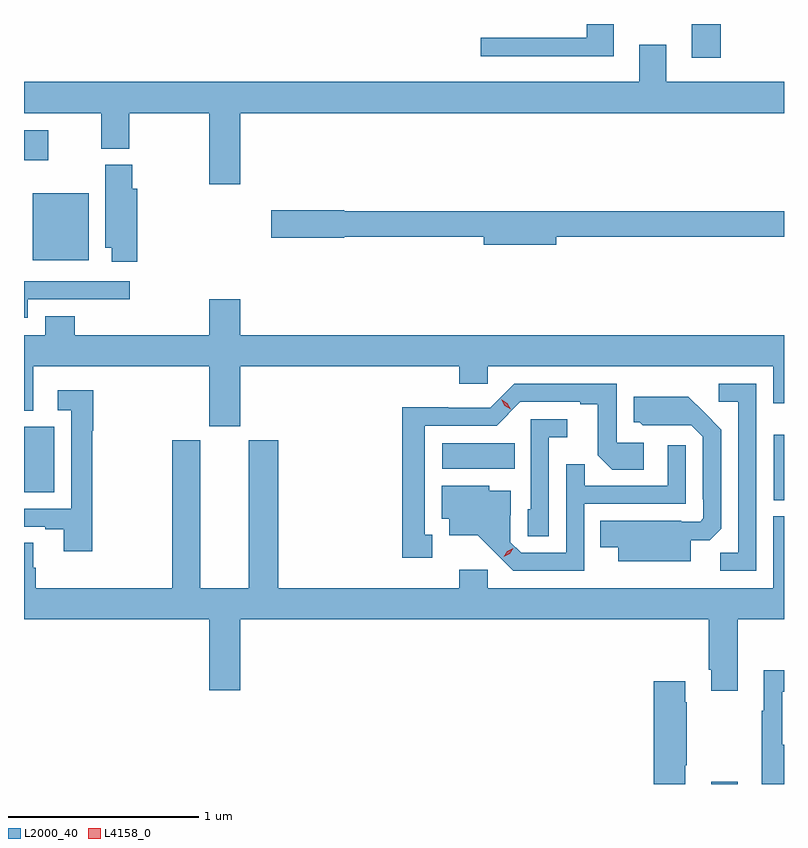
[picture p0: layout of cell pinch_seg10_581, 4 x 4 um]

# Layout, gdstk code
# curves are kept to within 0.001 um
import gdstk
lib = gdstk.Library(unit=1e-6, precision=1e-09)
def R(c, l, rs):  # rectangles x0, y0, x1, y1
    for r in rs: c.add(gdstk.rectangle(r[:2], r[2:], *l))
def P(c, l, *ps):  # polygons
    for p in ps: c.add(gdstk.Polygon(p, *l))
L2000_40 = (2000, 40)
L4158_0 = (4158, 0)

pinch_seg10_581 = lib.new_cell('pinch_seg10_581')
R(pinch_seg10_581, L2000_40, [(347.471,1283.465,347.611,1283.476), (347.801,1284.959,347.854,1285.303), (343.854,1285,344.014,1285.344), (346.056,1285.124,346.436,1285.258), (343.901,1286.222,344.194,1286.575), (343.854,1286.747,343.981,1286.905), (347.369,1287.288,347.522,1287.465)])
P(pinch_seg10_581, L2000_40, [(346.957,1287.465),(346.817,1287.465),(346.817,1287.393),(346.257,1287.393),(346.257,1287.296),(346.957,1287.296)],
  [(344.992,1286.996),(347.854,1286.996),(347.854,1287.16),(347.233,1287.16),(347.233,1287.355),(347.093,1287.355),(347.093,1287.16),(343.854,1287.16),(343.854,1286.996),(344.261,1286.996),(344.261,1286.809),(344.409,1286.809),(344.409,1286.996),(344.828,1286.996),(344.828,1286.622),(344.992,1286.622)],
  [(344.45,1286.598),(344.424,1286.598),(344.424,1286.724),(344.282,1286.724),(344.282,1286.288),(344.315,1286.288),(344.315,1286.214),(344.45,1286.214)],
  [(346.654,1286.344),(347.854,1286.344),(347.854,1286.48),(345.54,1286.48),(345.54,1286.486),(345.156,1286.486),(345.156,1286.339),(345.54,1286.339),(345.54,1286.344),(346.274,1286.344),(346.274,1286.302),(346.654,1286.302)],
  [(343.875,1286.016),(344.41,1286.016),(344.41,1286.112),(343.854,1286.112),(343.854,1285.92),(343.875,1285.92)],
  [(344.992,1285.664),(346.145,1285.664),(346.145,1285.571),(346.296,1285.571),(346.296,1285.664),(347.798,1285.664),(347.798,1285.47),(347.854,1285.47),(347.854,1285.828),(344.992,1285.828),(344.992,1286.017),(344.828,1286.017),(344.828,1285.828),(344.12,1285.828),(344.12,1285.927),(343.967,1285.927),(343.967,1285.828),(343.854,1285.828),(343.854,1285.429),(343.903,1285.429),(343.903,1285.664),(344.828,1285.664),(344.828,1285.347),(344.992,1285.347)],
  [(346.003,1284.777),(345.964,1284.777),(345.964,1285.35),(346.341,1285.35),(346.467,1285.476),(346.781,1285.476),(346.781,1285.464),(346.875,1285.464),(346.875,1285.196),(346.951,1285.12),(347.116,1285.12),(347.116,1285.26),(346.974,1285.26),(346.974,1285.572),(346.434,1285.572),(346.308,1285.446),(346.086,1285.446),(346.086,1285.448),(345.846,1285.448),(345.846,1284.657),(346.003,1284.657)],
  [(347.709,1285.572),(347.511,1285.572),(347.511,1285.476),(347.613,1285.476),(347.613,1284.683),(347.518,1284.683),(347.518,1284.588),(347.709,1284.588)],
  [(344.212,1285.324),(344.219,1285.324),(344.219,1285.537),(344.031,1285.537),(344.031,1285.431),(344.103,1285.431),(344.103,1284.915),(343.854,1284.915),(343.854,1284.819),(343.967,1284.819),(343.967,1284.807),(344.063,1284.807),(344.063,1284.69),(344.212,1284.69)],
  [(347.362,1284.749),(347.464,1284.749),(347.523,1284.808),(347.523,1285.33),(347.351,1285.504),(347.063,1285.504),(347.063,1285.368),(347.094,1285.368),(347.11,1285.352),(347.367,1285.353),(347.427,1285.293),(347.427,1284.964),(347.43,1284.964),(347.43,1284.864),(347.412,1284.846),(347.312,1284.846),(347.312,1284.85),(346.888,1284.85),(346.888,1284.71),(346.982,1284.71),(346.982,1284.638),(347.362,1284.638)],
  [(346.617,1285.289),(346.714,1285.289),(346.714,1285.386),(346.521,1285.386),(346.521,1284.912),(346.506,1284.912),(346.506,1284.769),(346.617,1284.769)],
  [(347.611,1284.332),(347.854,1284.332),(347.854,1284.874),(347.798,1284.874),(347.798,1284.496),(346.296,1284.496),(346.296,1284.592),(346.145,1284.592),(346.145,1284.496),(345.191,1284.496),(345.191,1285.275),(345.038,1285.275),(345.038,1284.496),(344.782,1284.496),(344.782,1285.275),(344.635,1285.275),(344.635,1284.496),(343.916,1284.496),(343.916,1284.602),(343.903,1284.602),(343.903,1284.734),(343.854,1284.734),(343.854,1284.332),(344.828,1284.332),(344.828,1283.958),(344.992,1283.958),(344.992,1284.332),(347.459,1284.332),(347.459,1284.067),(347.471,1284.067),(347.471,1283.955),(347.611,1283.955)],
  [(346.803,1284.939),(347.337,1284.939),(347.337,1285.249),(347.241,1285.249),(347.241,1285.035),(346.805,1285.035),(346.805,1285.148),(346.707,1285.148),(346.707,1284.681),(346.47,1284.681),(346.413,1284.738),(346.413,1284.88),(346.417,1284.88),(346.417,1285.009),(346.302,1285.009),(346.302,1285.036),(346.052,1285.036),(346.052,1284.86),(346.091,1284.86),(346.091,1284.773),(346.243,1284.773),(346.43,1284.588),(346.803,1284.588)],
  [(347.854,1283.671),(347.844,1283.671),(347.844,1283.951),(347.854,1283.951),(347.854,1284.064),(347.747,1284.064),(347.747,1283.851),(347.736,1283.851),(347.736,1283.465),(347.854,1283.465)],
  [(347.335,1283.563),(347.343,1283.563),(347.343,1283.894),(347.335,1283.894),(347.335,1284.007),(347.168,1284.007),(347.168,1283.465),(347.335,1283.465)])
P(pinch_seg10_581, L4158_0, [(346.38,1284.662),(346.38,1284.662),(346.398,1284.691),(346.428,1284.706),(346.428,1284.706),(346.428,1284.706),(346.411,1284.676),(346.38,1284.662)],
  [(346.415,1285.437),(346.383,1285.456),(346.366,1285.489),(346.366,1285.489),(346.366,1285.489),(346.398,1285.47),(346.415,1285.437),(346.415,1285.437)])

lib.write_gds('pinch_seg10_581.gds')
